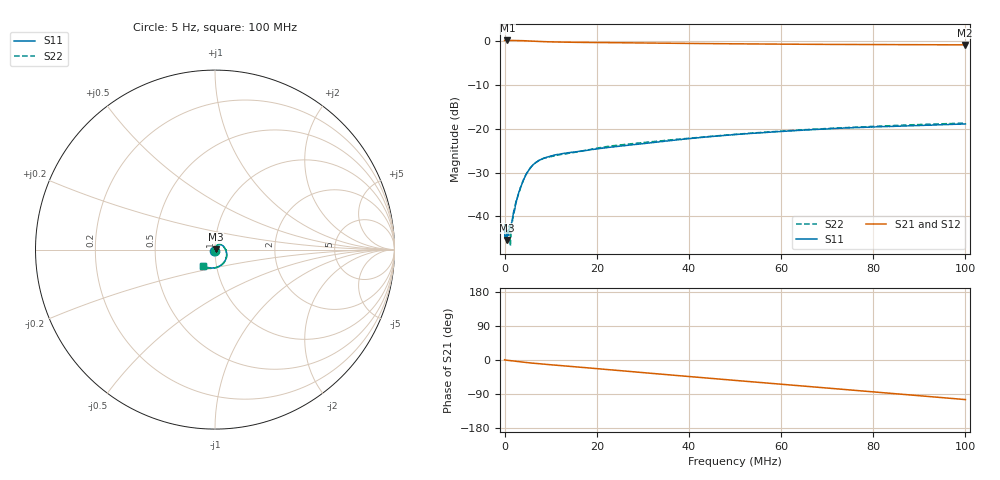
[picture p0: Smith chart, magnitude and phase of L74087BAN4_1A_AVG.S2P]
!Agilent Technologies,E5061B,MY49102235,A.02.00
!Date: Tue Jul 11 16:13:11 2023
!Data & Calibration Information:
!Freq	S11:SOLT2(ON)	S21:SOLT2(ON)	S12:SOLT2(ON)	S22:SOLT2(ON)
# Hz S RI R 50
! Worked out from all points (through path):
!   1600 points, 5 Hz to 100 MHz, reference 50 ohm
!   highest |S21| = 0.02 dB at 625.4 kHz (marker M1); lowest = -1.0 dB at 99.81 MHz (marker M2)
!   group delay of S21, straight-line fit = 2.85 ns
!   lowest |S11| = -45.3 dB at 500.3 kHz (marker M3), VSWR 1.01, Z = 50.5 + j0.271 ohm
!   |S11| at or under -10 dB: start of sweep to end of sweep
!   |S22| runs from -46.7 to -18.8 dB; largest |S21 - S12| = 0.0025
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5  -0.00519 -0.00564  1.002 0.00813  1 0.0102  -0.00151 -0.00754
500317.7  0.0047 0.00268  1.001 -0.0107  1.002 -0.0109  0.00491 0.00111
625395.8  0.00525 0.00332  1.002 -0.0143  1.002 -0.0139  0.00627 0.00291
938091.3  0.00457 0.00549  1.001 -0.0209  1.001 -0.0204  0.00615 0.0049
1313326  0.00494 0.00609  1 -0.0297  1.001 -0.0299  0.00313 0.00453
1688560  0.00453 0.00806  0.9997 -0.0398  1.001 -0.0403  0.00427 0.00722
2063795  0.00415 0.011  1 -0.0492  0.9998 -0.0498  0.00459 0.0107
2376490  0.00476 0.0127  0.9982 -0.0568  0.9989 -0.0572  0.00541 0.013
2939342  0.00688 0.0162  0.9968 -0.071  0.9966 -0.0713  0.00586 0.0166
3502194  0.0088 0.0196  0.9942 -0.0852  0.9942 -0.0852  0.0079 0.0202
4565358  0.0143 0.0255  0.9871 -0.1109  0.9869 -0.1108  0.0139 0.0259
5878679  0.0237 0.0287  0.9755 -0.1392  0.9755 -0.1393  0.0232 0.0289
7504695  0.0336 0.0273  0.9612 -0.1685  0.9611 -0.1688  0.0334 0.028
9443407  0.0418 0.0231  0.947 -0.2006  0.947 -0.2008  0.0413 0.0231
1.669794e7  0.055 0.00662  0.8989 -0.3157  0.8988 -0.3157  0.0548 0.00652
2.345216e7  0.0614 -0.00587  0.8471 -0.4201  0.8469 -0.42  0.0633 -0.00703
3.333334e7  0.0649 -0.0272  0.7492 -0.5585  0.7491 -0.5584  0.066 -0.0283
5.003127e7  0.0536 -0.0664  0.5418 -0.7409  0.5416 -0.7408  0.0533 -0.0674
6.672921e7  0.018 -0.0954  0.2991 -0.855  0.2993 -0.855  0.0188 -0.0962
8.33646e7  -0.0255 -0.1023  0.0392 -0.8975  0.039 -0.8977  -0.0252 -0.1045
9.981238e7  -0.0678 -0.0899  -0.2203 -0.866  -0.2203 -0.8663  -0.068 -0.0926
1e8  -0.0684 -0.0897  -0.2233 -0.8653  -0.2233 -0.8654  -0.0684 -0.0925
